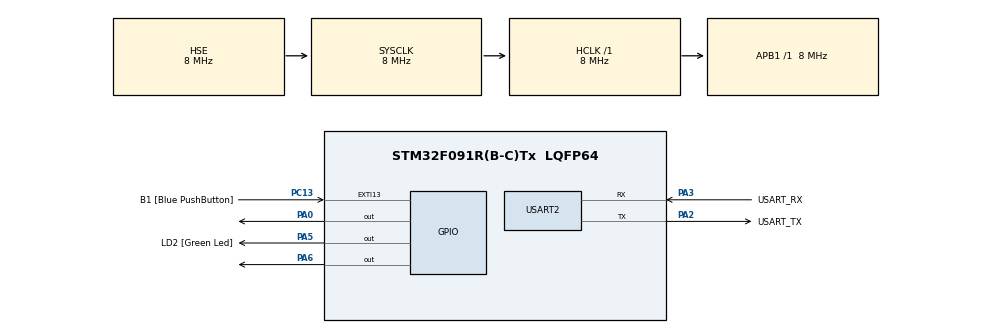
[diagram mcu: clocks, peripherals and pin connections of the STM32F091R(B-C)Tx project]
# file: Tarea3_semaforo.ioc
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Mcu.Family=STM32F0
Mcu.Name=STM32F091R(B-C)Tx
Mcu.Package=LQFP64
PA0.Signal=GPIO_Output
PA13.GPIO_Label=TMS
PA13.Mode=Serial_Wire
PA13.Signal=SYS_SWDIO
PA14.GPIO_Label=TCK
PA14.Mode=Serial_Wire
PA14.Signal=SYS_SWCLK
PA2.GPIO_Label=USART_TX
PA2.GPIO_Mode=GPIO_MODE_AF_PP
PA2.GPIO_PuPd=GPIO_NOPULL
PA2.GPIO_Speed=GPIO_SPEED_FREQ_LOW
PA2.Mode=Asynchronous
PA2.Signal=USART2_TX
PA3.GPIO_Label=USART_RX
PA3.GPIO_Mode=GPIO_MODE_AF_PP
PA3.GPIO_PuPd=GPIO_NOPULL
PA3.GPIO_Speed=GPIO_SPEED_FREQ_LOW
PA3.Mode=Asynchronous
PA3.Signal=USART2_RX
PA5.GPIO_Label=LD2 [Green Led]
PA5.GPIO_Mode=GPIO_MODE_OUTPUT_PP
PA5.GPIO_PuPd=GPIO_NOPULL
PA5.GPIO_Speed=GPIO_SPEED_FREQ_LOW
PA5.Signal=GPIO_Output
PA6.Signal=GPIO_Output
PC13.GPIO_Label=B1 [Blue PushButton]
PC13.GPIO_ModeDefaultEXTI=GPIO_MODE_IT_FALLING
PC13.Signal=GPXTI13
PC14OSC32_IN.Mode=LSE-External-Oscillator
PC14OSC32_IN.Signal=RCC_OSC32_IN
PC15OSC32_OUT.Mode=LSE-External-Oscillator
PC15OSC32_OUT.Signal=RCC_OSC32_OUT
PF0-OSC_IN.Mode=HSE-External-Clock-Source
PF0-OSC_IN.Signal=RCC_OSC_IN
PF1-OSC_OUT.Signal=RCC_OSC_OUT
ProjectManager.HeapSize=0x200
ProjectManager.StackSize=0x400
ProjectManager.TargetToolchain=CMake
RCC.AHBFreq_Value=8000000
RCC.APB1Freq_Value=8000000
RCC.APB1TimFreq_Value=8000000
RCC.FLatency-AdvancedSettings=FLASH_LATENCY_0
RCC.HCLKFreq_Value=8000000
RCC.PLLDivider=RCC_PREDIV_DIV2
RCC.PLLMUL=RCC_PLL_MUL12
RCC.PREFETCH_ENABLE-AdvancedSettings=1
RCC.SYSCLKFreq_VALUE=8000000
RCC.SYSCLKSource=RCC_SYSCLKSOURCE_HSE
USART2.VirtualMode=VM_ASYNC
USART2.VirtualMode-Asynchronous=VM_ASYNC
board=NUCLEO-F091RC

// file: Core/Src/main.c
/* USER CODE BEGIN Header */
/**
  ******************************************************************************
  * @file           : main.c
  * @brief          : Main program body
  ******************************************************************************
  * @attention
  *
  * Copyright (c) 2026 STMicroelectronics.
  * All rights reserved.
  *
  * This software is licensed under terms that can be found in the LICENSE file
  * in the root directory of this software component.
  * If no LICENSE file comes with this software, it is provided AS-IS.
  *
  ******************************************************************************
  */
/* USER CODE END Header */
#include "main.h"
#include "stm32f0xx_hal.h"

UART_HandleTypeDef huart2;

void SystemClock_Config(void);
static void MX_GPIO_Init(void);
static void MX_USART2_UART_Init(void);

int main(void)
{

  /* MCU Configuration--------------------------------------------------------*/

  /* Reset of all peripherals, Initializes the Flash interface and the Systick. */
  HAL_Init();

  /* Configure the system clock */
  SystemClock_Config();

  /* Initialize all configured peripherals */
  MX_GPIO_Init();
  MX_USART2_UART_Init();

  /* Infinite loop */
  /* USER CODE BEGIN WHILE */
  while (1)
  {
    if(!((GPIOC->IDR & (1UL << 13)) != 0)){
      HAL_Delay(1000);
      if(!((GPIOC->IDR & (1UL << 13)) != 0)){
        while(!((GPIOC->IDR & (1UL << 13)) != 0)){
          GPIOA->BSRR = (1UL << 16) | (1UL << 21) | (1UL << 6);
        }
        GPIOA->BSRR = (1UL << 0) | (1UL << 21) | (1UL << 22);
      }else{
      GPIOA->BSRR = (1UL ) | (1UL << 21) | (1UL << 22);
      HAL_Delay(2000);
      GPIOA->BSRR = (1UL << 16) | (1UL << 5) | (1UL << 22);
      HAL_Delay(2000);
      GPIOA->BSRR = (1UL << 16) | (1UL << 21) | (1UL << 6);
      HAL_Delay(2000);
      GPIOA->BSRR = (1UL ) | (1UL << 21) | (1UL << 22);
      HAL_Delay(2000);
      }
    }
    /* USER CODE END WHILE */

  }
}

void SystemClock_Config(void)
{
  RCC_OscInitTypeDef RCC_OscInitStruct = {0};
  RCC_ClkInitTypeDef RCC_ClkInitStruct = {0};
  RCC_PeriphCLKInitTypeDef PeriphClkInit = {0};

  /** Initializes the RCC Oscillators according to the specified parameters
  * in the RCC_OscInitTypeDef structure.
  */
  RCC_OscInitStruct.OscillatorType = RCC_OSCILLATORTYPE_HSE;
  RCC_OscInitStruct.HSEState = RCC_HSE_BYPASS;
  RCC_OscInitStruct.PLL.PLLState = RCC_PLL_NONE;
  if (HAL_RCC_OscConfig(&RCC_OscInitStruct) != HAL_OK)
  {
    Error_Handler();
  }

  /** Initializes the CPU, AHB and APB buses clocks
  */
  RCC_ClkInitStruct.ClockType = RCC_CLOCKTYPE_HCLK|RCC_CLOCKTYPE_SYSCLK
                              |RCC_CLOCKTYPE_PCLK1;
  RCC_ClkInitStruct.SYSCLKSource = RCC_SYSCLKSOURCE_HSE;
  RCC_ClkInitStruct.AHBCLKDivider = RCC_SYSCLK_DIV1;
  RCC_ClkInitStruct.APB1CLKDivider = RCC_HCLK_DIV1;

  if (HAL_RCC_ClockConfig(&RCC_ClkInitStruct, FLASH_LATENCY_0) != HAL_OK)
  {
    Error_Handler();
  }
  PeriphClkInit.PeriphClockSelection = RCC_PERIPHCLK_USART2;
  PeriphClkInit.Usart2ClockSelection = RCC_USART2CLKSOURCE_PCLK1;
  if (HAL_RCCEx_PeriphCLKConfig(&PeriphClkInit) != HAL_OK)
  {
    Error_Handler();
  }
}

static void MX_USART2_UART_Init(void)
{

  huart2.Instance = USART2;
  huart2.Init.BaudRate = 115200;
  huart2.Init.WordLength = UART_WORDLENGTH_8B;
  huart2.Init.StopBits = UART_STOPBITS_1;
  huart2.Init.Parity = UART_PARITY_NONE;
  huart2.Init.Mode = UART_MODE_TX_RX;
  huart2.Init.HwFlowCtl = UART_HWCONTROL_NONE;
  huart2.Init.OverSampling = UART_OVERSAMPLING_16;
  huart2.Init.OneBitSampling = UART_ONE_BIT_SAMPLE_DISABLE;
  huart2.AdvancedInit.AdvFeatureInit = UART_ADVFEATURE_NO_INIT;
  if (HAL_UART_Init(&huart2) != HAL_OK)
  {
    Error_Handler();
  }

}

static void MX_GPIO_Init(void)
{
  GPIO_InitTypeDef GPIO_InitStruct = {0};

  /* GPIO Ports Clock Enable */
  __HAL_RCC_GPIOC_CLK_ENABLE();
  __HAL_RCC_GPIOF_CLK_ENABLE();
  __HAL_RCC_GPIOA_CLK_ENABLE();

  /*Configure GPIO pin Output Level */
  HAL_GPIO_WritePin(GPIOA, GPIO_PIN_0|LD2_Pin|GPIO_PIN_6, GPIO_PIN_RESET);

  /*Configure GPIO pin : B1_Pin */
  GPIO_InitStruct.Pin = B1_Pin;
  GPIO_InitStruct.Mode = GPIO_MODE_IT_FALLING;
  GPIO_InitStruct.Pull = GPIO_NOPULL;
  HAL_GPIO_Init(B1_GPIO_Port, &GPIO_InitStruct);

  /*Configure GPIO pins : PA0 LD2_Pin PA6 */
  GPIO_InitStruct.Pin = GPIO_PIN_0|LD2_Pin|GPIO_PIN_6;
  GPIO_InitStruct.Mode = GPIO_MODE_OUTPUT_PP;
  GPIO_InitStruct.Pull = GPIO_NOPULL;
  GPIO_InitStruct.Speed = GPIO_SPEED_FREQ_LOW;
  HAL_GPIO_Init(GPIOA, &GPIO_InitStruct);

}

void Error_Handler(void)
{
  __disable_irq();
  while (1)
  {
  }
}
